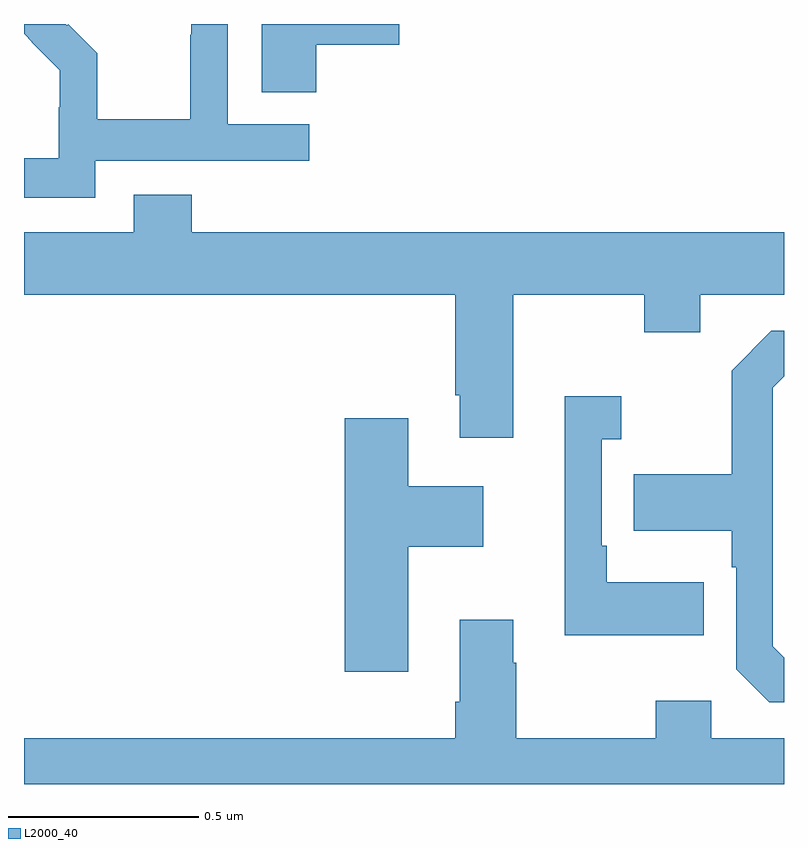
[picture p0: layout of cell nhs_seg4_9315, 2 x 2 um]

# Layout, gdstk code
import gdstk
lib = gdstk.Library(unit=1e-6, precision=1e-09)
def P(c, l, *ps):  # polygons
    for p in ps: c.add(gdstk.Polygon(p, *l))
L2000_40 = (2000, 40)

nhs_seg4_9315 = lib.new_cell('nhs_seg4_9315')
P(nhs_seg4_9315, L2000_40, [(226.188,762.54),(226.75,762.54),(226.75,762.636),(226.536,762.636),(226.536,762.9),(226.44,762.9),(226.44,762.872),(226.438,762.872),(226.438,762.649),(226.193,762.649),(226.193,762.823),(226.116,762.9),(226.113,762.897),(226.11,762.9),(226,762.9),(226,762.874),(226.021,762.853),(226.02,762.852),(226.094,762.778),(226.094,762.681),(226.092,762.681),(226.092,762.547),(226,762.547),(226,762.443),(226.188,762.443)],
  [(226.769,762.845),(226.987,762.845),(226.987,762.9),(226.625,762.9),(226.625,762.721),(226.769,762.721)],
  [(227.287,762.188),(227.632,762.188),(227.632,762.089),(227.779,762.089),(227.779,762.188),(228,762.188),(228,762.352),(226.442,762.352),(226.442,762.451),(226.289,762.451),(226.289,762.352),(226,762.352),(226,762.188),(227.135,762.188),(227.135,761.923),(227.147,761.923),(227.147,761.811),(227.287,761.811)],
  [(228,761.232),(227.97,761.262),(227.97,761.943),(228,761.973),(228,762.093),(227.967,762.093),(227.862,761.987),(227.862,761.715),(227.605,761.715),(227.605,761.567),(227.862,761.567),(227.862,761.471),(227.874,761.471),(227.874,761.202),(227.961,761.115),(228,761.115)],
  [(227.789,761.431),(227.533,761.431),(227.533,761.527),(227.52,761.527),(227.52,761.807),(227.572,761.807),(227.572,761.92),(227.423,761.92),(227.423,761.291),(227.789,761.291)],
  [(227.011,761.525),(227.209,761.525),(227.209,761.683),(227.011,761.683),(227.011,761.863),(226.844,761.863),(226.844,761.196),(227.011,761.196)],
  [(228,761.02),(227.808,761.02),(227.808,761.119),(227.662,761.119),(227.662,761.02),(227.295,761.02),(227.295,761.219),(227.287,761.219),(227.287,761.332),(227.147,761.332),(227.147,761.116),(227.135,761.116),(227.135,761.02),(226,761.02),(226,760.9),(228,760.9)])

lib.write_gds('nhs_seg4_9315.gds')
